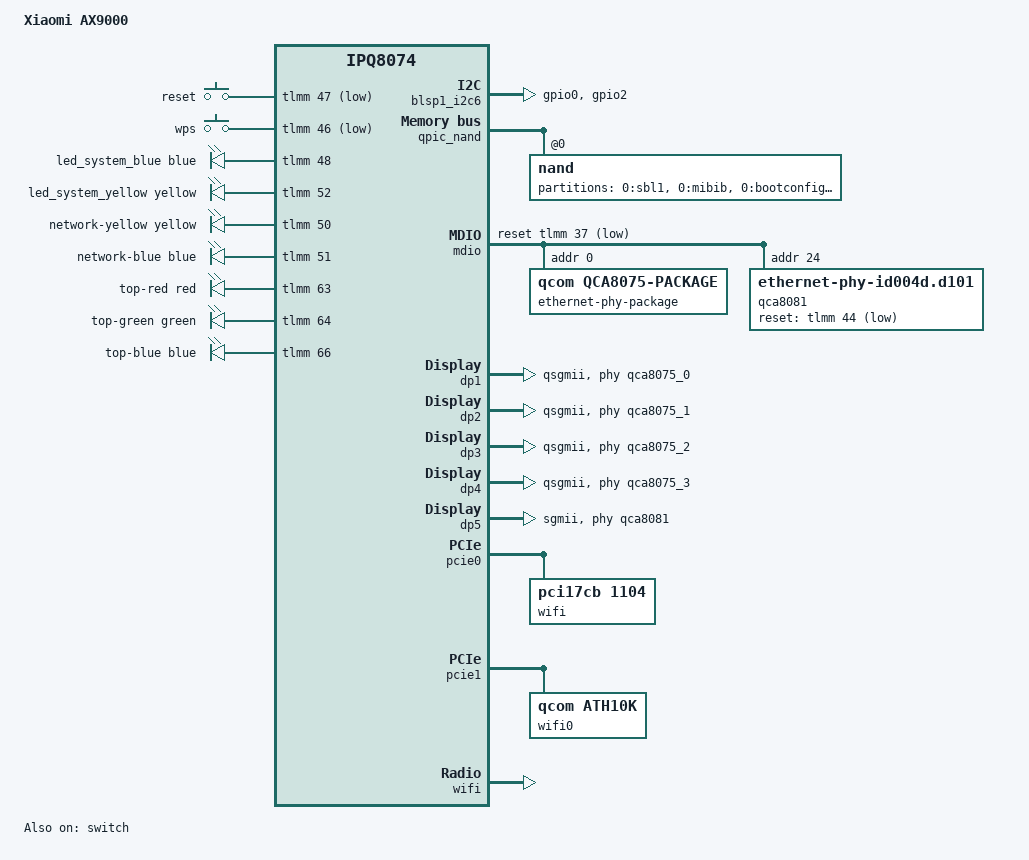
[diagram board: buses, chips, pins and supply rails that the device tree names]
// SPDX-License-Identifier: GPL-2.0-or-later OR MIT

/dts-v1/;

#include "ipq8074.dtsi"
#include "ipq8074-ess.dtsi"
#include "ipq8074-nss.dtsi"
#include "ipq8074-common.dtsi"
#include "ipq8074-hk-cpu.dtsi"

#include <dt-bindings/gpio/gpio.h>
#include <dt-bindings/input/input.h>
#include <dt-bindings/leds/common.h>

/ {
	model = "Xiaomi AX9000";
	compatible = "xiaomi,ax9000", "qcom,ipq8074";

	aliases {
		serial0 = &blsp1_uart5;

		led-boot = &led_system_yellow;
		led-failsafe = &led_system_yellow;
		led-running = &led_system_blue;
		led-upgrade = &led_system_yellow;

		label-mac-device = &dp5;
	};

	chosen {
		stdout-path = "serial0:115200n8";
		bootargs-append = " root=/dev/ubiblock0_0";
	};

	keys {
		compatible = "gpio-keys";

		reset {
			label = "reset";
			gpios = <&tlmm 47 GPIO_ACTIVE_LOW>;
			linux,code = <KEY_RESTART>;
		};

		wps {
			label = "wps";
			gpios = <&tlmm 46 GPIO_ACTIVE_LOW>;
			linux,code = <KEY_WPS_BUTTON>;
		};
	};

	leds {
		compatible = "gpio-leds";

		led_system_blue: system-blue {
			gpios = <&tlmm 48 GPIO_ACTIVE_HIGH>;
			color = <LED_COLOR_ID_BLUE>;
		};

		led_system_yellow: system-yellow {
			gpios = <&tlmm 52 GPIO_ACTIVE_HIGH>;
			color = <LED_COLOR_ID_YELLOW>;
		};

		network-yellow {
			gpios = <&tlmm 50 GPIO_ACTIVE_HIGH>;
			color = <LED_COLOR_ID_YELLOW>;
		};

		network-blue {
			gpios = <&tlmm 51 GPIO_ACTIVE_HIGH>;
			color = <LED_COLOR_ID_BLUE>;
		};

		top-red {
			gpios = <&tlmm 63 GPIO_ACTIVE_HIGH>;
			color = <LED_COLOR_ID_RED>;
			default-state = "keep";
		};

		top-green {
			gpios = <&tlmm 64 GPIO_ACTIVE_HIGH>;
			color = <LED_COLOR_ID_GREEN>;
			default-state = "keep";
		};

		top-blue {
			gpios = <&tlmm 66 GPIO_ACTIVE_HIGH>;
			color = <LED_COLOR_ID_BLUE>;
			default-state = "keep";
		};
	};
};

&tlmm {
	i2c_pins: i2c-pins {
		pins = "gpio0", "gpio2";
		function = "blsp5_i2c";
		drive-strength = <8>;
		bias-disable;
	};
};

&blsp1_i2c6 {
	status = "okay";

	pinctrl-0 = <&i2c_pins>;
	pinctrl-names = "default";
};

&qpic_nand {
	status = "okay";

	partitions {
		status = "disabled";
	};

	nand@0 {
		reg = <0>;

		nand-ecc-strength = <4>;
		nand-ecc-step-size = <512>;
		nand-bus-width = <8>;

		partitions {
			compatible = "fixed-partitions";
			#address-cells = <1>;
			#size-cells = <1>;

			partition@0 {
				label = "0:sbl1";
				reg = <0x00000000 0x00100000>;
				read-only;
			};

			partition@100000 {
				label = "0:mibib";
				reg = <0x00100000 0x00100000>;
				read-only;
			};

			partition@200000 {
				label = "0:bootconfig";
				reg = <0x00200000 0x00080000>;
				read-only;
			};

			partition@280000 {
				label = "0:bootconfig1";
				reg = <0x00280000 0x00080000>;
				read-only;
			};

			partition@300000 {
				label = "0:qsee";
				reg = <0x00300000 0x00300000>;
				read-only;
			};

			partition@600000 {
				label = "0:qsee_1";
				reg = <0x00600000 0x00300000>;
				read-only;
			};

			partition@900000 {
				label = "0:devcfg";
				reg = <0x00900000 0x00080000>;
				read-only;
			};

			partition@980000 {
				label = "0:devcfg_1";
				reg = <0x00980000 0x00080000>;
				read-only;
			};

			partition@a00000 {
				label = "0:apdp";
				reg = <0x00a00000 0x00080000>;
				read-only;
			};

			partition@a80000 {
				label = "0:apdp_1";
				reg = <0x00a80000 0x00080000>;
				read-only;
			};

			partition@b00000 {
				label = "0:rpm";
				reg = <0x00b00000 0x00080000>;
				read-only;
			};

			partition@b80000 {
				label = "0:rpm_1";
				reg = <0x00b80000 0x00080000>;
				read-only;
			};

			partition@c00000 {
				label = "0:cdt";
				reg = <0x00c00000 0x00080000>;
				read-only;
			};

			partition@c80000 {
				label = "0:cdt_1";
				reg = <0x00c80000 0x00080000>;
				read-only;
			};

			partition@d00000 {
				label = "0:appsblenv";
				reg = <0x00d00000 0x00080000>;
			};

			partition@d80000 {
				label = "0:appsbl";
				reg = <0x00d80000 0x00100000>;
				read-only;
			};

			partition@e80000 {
				label = "0:appsbl_1";
				reg = <0x00e80000 0x00100000>;
				read-only;
			};

			partition@f80000 {
				label = "0:art";
				reg = <0x00f80000 0x00080000>;
				read-only;

				nvmem-layout {
					compatible = "fixed-layout";
					#address-cells = <1>;
					#size-cells = <1>;

					macaddr_dp1: macaddr@0 {
						reg = <0x00 0x06>;
					};

					macaddr_dp2: macaddr@6 {
						reg = <0x06 0x06>;
					};

					macaddr_dp3: macaddr@c {
						reg = <0x0c 0x06>;
					};

					macaddr_dp4: macaddr@12 {
						reg = <0x12 0x06>;
					};

					macaddr_dp5: macaddr@18 {
						reg = <0x18 0x06>;
					};

					caldata_qca9889: caldata@4d000 {
						reg = <0x0004d000 0x00000844>;
					};
				};
			};

			partition@1000000 {
				label = "bdata";
				reg = <0x01000000 0x00080000>;
			};

			partition@1080000 {
				label = "pstore";
				reg = <0x01080000 0x00100000>;
			};

			partition@1180000 {
				label = "ubi_kernel";
				reg = <0x01180000 0x03800000>;
			};

			partition@4980000 {
				label = "rootfs";
				reg = <0x04980000 0x0b680000>;
			};
		};
	};
};

&mdio {
	status = "okay";

	pinctrl-0 = <&mdio_pins>;
	pinctrl-names = "default";
	reset-gpios = <&tlmm 37 GPIO_ACTIVE_LOW>;

	ethernet-phy-package@0 {
		compatible = "qcom,qca8075-package";
		#address-cells = <1>;
		#size-cells = <0>;
		reg = <0>;

		qcom,package-mode = "qsgmii";

		qca8075_0: ethernet-phy@0 {
			compatible = "ethernet-phy-ieee802.3-c22";
			reg = <0>;
		};

		qca8075_1: ethernet-phy@1 {
			compatible = "ethernet-phy-ieee802.3-c22";
			reg = <1>;
		};

		qca8075_2: ethernet-phy@2 {
			compatible = "ethernet-phy-ieee802.3-c22";
			reg = <2>;
		};

		qca8075_3: ethernet-phy@3 {
			compatible = "ethernet-phy-ieee802.3-c22";
			reg = <3>;
		};
	};

	qca8081: ethernet-phy@24 {
		compatible = "ethernet-phy-id004d.d101";
		reg = <24>;
		reset-deassert-us = <10000>;
		reset-gpios = <&tlmm 44 GPIO_ACTIVE_LOW>;
	};
};

&switch {
	status = "okay";

	switch_lan_bmp = <(ESS_PORT1 | ESS_PORT2 | ESS_PORT3 | ESS_PORT4)>;
	switch_wan_bmp = <ESS_PORT5>;
	switch_mac_mode = <MAC_MODE_QSGMII>;
	switch_mac_mode1 = <MAC_MODE_SGMII_PLUS>;

	qcom,port_phyinfo {
		port@1 {
			port_id = <1>;
			phy_address = <0>;
		};

		port@2 {
			port_id = <2>;
			phy_address = <1>;
		};

		port@3 {
			port_id = <3>;
			phy_address = <2>;
		};

		port@4 {
			port_id = <4>;
			phy_address = <3>;
		};

		port@5 {
			port_id = <5>;
			phy_address = <24>;
			port_mac_sel = "QGMAC_PORT";
		};
	};
};

&edma {
	status = "okay";
};

&dp1 {
	status = "okay";
	phy-mode = "qsgmii";
	phy-handle = <&qca8075_0>;
	label = "lan4";
	nvmem-cells = <&macaddr_dp1>;
	nvmem-cell-names = "mac-address";
};

&dp2 {
	status = "okay";
	phy-mode = "qsgmii";
	phy-handle = <&qca8075_1>;
	label = "lan3";
	nvmem-cells = <&macaddr_dp2>;
	nvmem-cell-names = "mac-address";
};

&dp3 {
	status = "okay";
	phy-mode = "qsgmii";
	phy-handle = <&qca8075_2>;
	label = "lan2";
	nvmem-cells = <&macaddr_dp3>;
	nvmem-cell-names = "mac-address";
};

&dp4 {
	status = "okay";
	phy-mode = "qsgmii";
	phy-handle = <&qca8075_3>;
	label = "lan1";
	nvmem-cells = <&macaddr_dp4>;
	nvmem-cell-names = "mac-address";
};

&dp5 {
	status = "okay";
	phy-mode = "sgmii";
	phy-handle = <&qca8081>;
	label = "wan";
	nvmem-cells = <&macaddr_dp5>;
	nvmem-cell-names = "mac-address";
};

&pcie0 {
	status = "okay";
	perst-gpios = <&tlmm 58 GPIO_ACTIVE_LOW>;

	pcie@0 {
		wifi@0,0 {
			status = "okay";
			compatible = "pci17cb,1104";
			qcom,ath11k-fw-memory-mode = <1>;
			qcom,ath11k-calibration-variant = "Xiaomi-AX9000";
			reg = <0x00010000 0 0 0 0>;
		};
	};
};

&pcie1 {
	status = "okay";
	perst-gpios = <&tlmm 62 GPIO_ACTIVE_HIGH>;

	pcie@0 {
		wifi0: wifi@0,0 {
			status = "okay";
			compatible = "qcom,ath10k";
			qcom,ath10k-fw-memory-mode = <1>;
			qcom,ath10k-calibration-variant = "Xiaomi-AX9000";
			reg = <0x00010000 0 0 0 0>;

			nvmem-cell-names = "calibration";
			nvmem-cells = <&caldata_qca9889>;
		};
	};
};

&wifi {
	status = "okay";
	qcom,ath11k-fw-memory-mode = <1>;
	qcom,ath11k-calibration-variant = "Xiaomi-AX9000";
};
